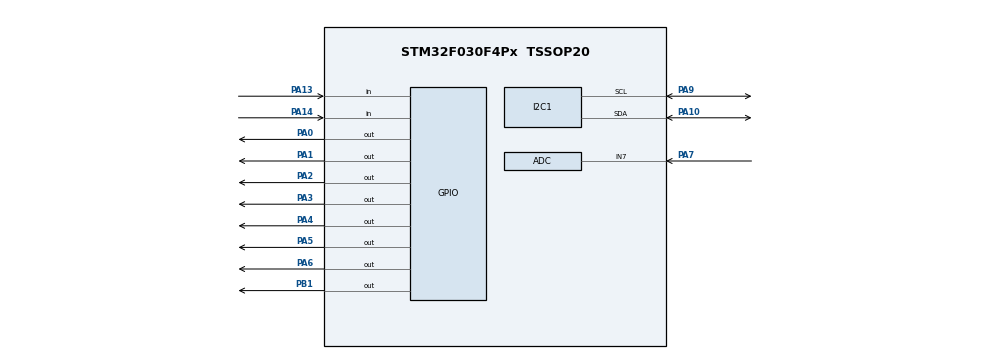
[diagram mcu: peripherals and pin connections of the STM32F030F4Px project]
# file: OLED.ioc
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Mcu.Family=STM32F0
Mcu.Name=STM32F030F4Px
Mcu.Package=TSSOP20
NVIC.I2C1_IRQn=true\:0\:0\:false\:false\:true\:true\:true
PA0.Signal=GPIO_Output
PA1.Signal=GPIO_Output
PA10.Mode=I2C
PA10.Signal=I2C1_SDA
PA13.Signal=GPIO_Input
PA14.Signal=GPIO_Input
PA2.Signal=GPIO_Output
PA3.Signal=GPIO_Output
PA4.Signal=GPIO_Output
PA5.Signal=GPIO_Output
PA6.Signal=GPIO_Output
PA7.Mode=IN7
PA7.Signal=ADC_IN7
PA9.Mode=I2C
PA9.Signal=I2C1_SCL
PB1.Signal=GPIO_Output
PF0-OSC_IN.Mode=HSE-External-Oscillator
PF0-OSC_IN.Signal=RCC_OSC_IN
PF1-OSC_OUT.Mode=HSE-External-Oscillator
PF1-OSC_OUT.Signal=RCC_OSC_OUT
ProjectManager.HeapSize=0x200
ProjectManager.StackSize=0x400
ProjectManager.TargetToolchain=MDK-ARM V5.27
board=custom

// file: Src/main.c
/* USER CODE BEGIN Header */
/**
  ******************************************************************************
  * @file           : main.c
  * @brief          : Main program body
  ******************************************************************************
  * @attention
  *
  * <h2><center>&copy; Copyright (c) 2021 STMicroelectronics.
  * All rights reserved.</center></h2>
  *
  * This software component is licensed by ST under BSD 3-Clause license,
  * the "License"; You may not use this file except in compliance with the
  * License. You may obtain a copy of the License at:
  *                        opensource.org/licenses/BSD-3-Clause
  *
  ******************************************************************************
  */
/* USER CODE END Header */

#include "main.h"

/* USER CODE BEGIN Includes */
#include "stm32_ds3231.h"
#include "stm32_ds3231.c"
/* USER CODE END Includes */

/* USER CODE BEGIN PTD */
#define numlines 2
#define LCD_CLEARDISPLAY 0x01
#define LCD_RETURNHOME 0x02
#define LCD_ENTRYMODESET 0x04
#define LCD_DISPLAYCONTROL 0x08
#define LCD_CURSORSHIFT 0x10
#define LCD_FUNCTIONSET 0x20
#define LCD_SETCGRAMADDR 0x40
#define LCD_SETDDRAMADDR 0x80
/* USER CODE END PTD */

ADC_HandleTypeDef hadc;

I2C_HandleTypeDef hi2c1;

/* USER CODE BEGIN PV */
I2C_HandleTypeDef hi2c1;
uint8_t menuFlag = 0;
uint8_t buttonFlags = 0;
uint16_t tempData = 0;
/* USER CODE END PV */

void SystemClock_Config(void);
static void MX_GPIO_Init(void);
static void MX_I2C1_Init(void);
static void MX_ADC_Init(void);
/* USER CODE BEGIN PFP */
static void callButton(void);
/* USER CODE END PFP */

/* USER CODE BEGIN 0 */
_RTC rtc = {
    .Year = 0, .Month = 3, .Date = 1,
    .DaysOfWeek = SUNDAY,
    .Hour = 2, .Min = 8, .Sec = 0
};

uint8_t regVal;
float rtcTemp;

void lcdSend(uint8_t isCommand, uint8_t data) {
	//HAL_Delay(25);
    HAL_GPIO_WritePin(GPIOA, GPIO_PIN_5, isCommand ? 0 : 1); //RS
    HAL_Delay(1);

    HAL_GPIO_WritePin(GPIOA, GPIO_PIN_0, (data >> 7) & 1); //D7
    HAL_GPIO_WritePin(GPIOA, GPIO_PIN_1, (data >> 6) & 1); //D6
    HAL_GPIO_WritePin(GPIOA, GPIO_PIN_2, (data >> 5) & 1); //D5
    HAL_GPIO_WritePin(GPIOA, GPIO_PIN_3, (data >> 4) & 1); //D4

        HAL_GPIO_WritePin(GPIOA, GPIO_PIN_6, 1); //E
        HAL_Delay(1);
        HAL_GPIO_WritePin(GPIOA, GPIO_PIN_6, 0);

      HAL_GPIO_WritePin(GPIOA, GPIO_PIN_0, (data >> 3) & 1);
      HAL_GPIO_WritePin(GPIOA, GPIO_PIN_1, (data >> 2) & 1);
      HAL_GPIO_WritePin(GPIOA, GPIO_PIN_2, (data >> 1) & 1);
      HAL_GPIO_WritePin(GPIOA, GPIO_PIN_3, (data >> 0) & 1);

      HAL_GPIO_WritePin(GPIOA, GPIO_PIN_6, 1);
      HAL_Delay(1);
      HAL_GPIO_WritePin(GPIOA, GPIO_PIN_6, 0);

}

void lcdCommand(uint8_t cmd) {
    lcdSend(1, cmd);
}

void lcdChar(const char chr) {
    lcdSend(0, (uint8_t)chr);
}

void lcdString(const char* str) {
    while(*str != '\0') {
        lcdChar(*str);
        str++;
    }
}
void lcdInt(int value) {
	char buf[17];
	sprintf(buf, "%d", value);
	lcdString(buf);
}

void lcdSetCursor(uint8_t x, uint8_t y) {
	/*
	if (0 <= x && x <= 100) {
		lcdCommand(0x80 | x);
	}
	if (0 <= y && y <= 1) {
		lcdCommand(0x80 | y);
	}
	*/

  int row_offsets[] = { 0x00, 0x40, 0x14, 0x54 };
  if ( y >= numlines ) {
    y = numlines-1;    // we count rows starting w/0
  }

  lcdCommand(LCD_SETDDRAMADDR | (x + row_offsets[y]));

}
void checkDate() {
	if(rtc.Month == 1 || rtc.Month == 3 || rtc.Month == 5 || rtc.Month == 7 || rtc.Month == 8 ||  rtc.Month == 10 || rtc.Month == 12) {
		if(tempData <= 31) rtc.Date = tempData;
		else tempData = 1;
}
	else if (rtc.Month == 4 || rtc.Month == 6 || rtc.Month == 9 || rtc.Month == 11) {
		if(tempData <= 30) rtc.Date = tempData;
		else tempData = 1;
	}
	else if (rtc.Month == 2) {
		if(rtc.Year % 4 == 0) {
			if(tempData <= 29) rtc.Date = tempData;
		else tempData = 1;
		}
		else if(rtc.Year % 4 != 0) {
			if(tempData <= 28) rtc.Date = tempData;
		else tempData = 1;
		}
	}
}
void setTime() {
	while(1) {
	if(menuFlag == 0) return;
		callButton();
		switch(menuFlag) {
			case 1:
			lcdSetCursor(0,0);
			lcdString("Set year: ");
			lcdInt(tempData);
			rtc.Year = tempData - 2000;
			break;
			case 2:
			lcdSetCursor(0,0);
			lcdString("Set month: ");
						if(tempData <= 12) rtc.Month = tempData;
			else tempData = 1;
			if(tempData < 10) {
			lcdChar('0');
lcdInt(tempData);
		}
		else 	lcdInt(tempData);
			break;
			case 3:
					lcdSetCursor(0,0);
			lcdString("Set date: ");
			checkDate();
						if(tempData < 10) {
			lcdChar('0');
lcdInt(tempData);
		}
		else 	lcdInt(tempData);
			break;
			case 4:
					lcdSetCursor(0,0);
			lcdString("Set hour: ");
			if(tempData <= 23) rtc.Hour = tempData;
			else tempData = 1;
			if(tempData < 10) {
			lcdChar('0');
lcdInt(tempData);
		}
		else 	lcdInt(tempData);
			break;
			case 5:
					lcdSetCursor(0,0);
			lcdString("Set minute: ");
			if(tempData <= 59) rtc.Min = tempData;
			else tempData = 1;
			if(tempData < 10) {
			lcdChar('0');
lcdInt(tempData);
		}
		else 	lcdInt(tempData);
			break;
			case 6:
			lcdSetCursor(0,0);
			lcdString("Set second: ");
			if(tempData <= 59) rtc.Sec = tempData;
			else tempData = 1;
			if(tempData < 10) {
			lcdChar('0');
lcdInt(tempData);
		}
		else 	lcdInt(tempData);
			break;
			default:
			DS3231_SetTime(&rtc);
			menuFlag = 0;
			break;
	}
}
	}
void check1() {
tempData++;
}

void check2() {
lcdCommand(0x01);
if(menuFlag == 0) {
	menuFlag++;
	HAL_Delay(10);
					tempData = 2000;
	setTime();
}
	else {
		tempData = 1;
		menuFlag++;
		HAL_Delay(10);
	}
}
void callButton() {
  if(HAL_GPIO_ReadPin(GPIOA,GPIO_PIN_13) == GPIO_PIN_SET && ((buttonFlags >> 0) & 1) == 1) {
   buttonFlags &= ~(1 << 0);
  }
   if(HAL_GPIO_ReadPin(GPIOA,GPIO_PIN_13) == GPIO_PIN_RESET && ((buttonFlags >> 0) & 1) == 0) {
   buttonFlags |= (1 << 0);
     check1();
  }
    if(HAL_GPIO_ReadPin(GPIOA,GPIO_PIN_14) == GPIO_PIN_SET && ((buttonFlags >> 1) & 1) == 1) {
    buttonFlags &= ~(1 << 1);
  }
   if(HAL_GPIO_ReadPin(GPIOA,GPIO_PIN_14) == GPIO_PIN_RESET && ((buttonFlags >> 1) & 1) == 0) {
  buttonFlags |= (1 << 1);
     check2();
  }
}

/* USER CODE END 0 */

int main(void)
{

  /* MCU Configuration--------------------------------------------------------*/

  /* Reset of all peripherals, Initializes the Flash interface and the Systick. */
  HAL_Init();

  /* USER CODE BEGIN Init */
buttonFlags = (1 | (1 << 1));
  /* USER CODE END Init */

  /* Configure the system clock */
  SystemClock_Config();

  /* Initialize all configured peripherals */
  MX_GPIO_Init();
  MX_I2C1_Init();
  MX_ADC_Init();
  /* USER CODE BEGIN 2 */
	  DS3231_Init(&hi2c1);
 // DS3231_SetTime(&rtc);
	HAL_Delay(500);
	/*
	for(int i = 0; i < 5; i++) {
lcdCommand(0x00);
HAL_Delay(10);
	}
	lcdCommand(0x30); //4-bit mode, 2 lines
	lcdCommand(0x02); //display init
	lcdCommand(0x08);
  lcdCommand(0x17);
  lcdCommand(0x04 | 0x08);
  lcdCommand(0x0C); //display on
  lcdCommand(0x01); //clear
  lcdCommand(0x80); //set cursor
	*/
	lcdCommand(0x33);
	lcdCommand(0x32);
	lcdCommand(0x28);
	lcdCommand(0x01);
	lcdCommand(0x08 | 0x04);
	lcdCommand(0x04 | 0x02);

	//WS0010
	lcdCommand(0x08);
	lcdCommand(0x17);
	lcdCommand(0x01);
	lcdCommand(0x04 | 0x08);
	lcdCommand(0x01); //clear
  lcdCommand(0x80); //set cursor
	//lcdString("+79080665015");
  /* USER CODE END 2 */

  /* Infinite loop */
  /* USER CODE BEGIN WHILE */
  while (1)
  {
		    DS3231_GetTime(&rtc);
    DS3231_ReadTemperature(&rtcTemp);
		lcdSetCursor(0,0);
		uint8_t hour = rtc.Hour;
		uint8_t second = rtc.Sec;
		uint8_t minute = rtc.Min;
		if(hour < 10) {
			lcdChar('0');
lcdInt(hour);
		}
		else lcdInt(hour);
		lcdChar(':');
		if(minute < 10) {
			lcdChar('0');
lcdInt(minute);
		}
		else lcdInt(minute);
		lcdChar(':');
		if(second < 10) {
			lcdChar('0');
lcdInt(second);
		}
		else lcdInt(second);
		lcdSetCursor(0,1);
	//	lcdString("88888");
		HAL_Delay(250);

		uint8_t month = rtc.Month;
		uint8_t day = rtc.Date;
		uint8_t year = rtc.Year;
		lcdString("20");
		if(year < 10) {
			lcdChar('0');
lcdInt(year);
		}
    else lcdInt(year);
		lcdChar('/');
		if(month < 10) {
			lcdChar('0');
lcdInt(month);
		}
		else lcdInt(month);
		lcdChar('/');
		if(day < 10) {
			lcdChar('0');
lcdInt(day);
		}
		else lcdInt(day);

    ReadRegister(DS3231_REG_STATUS, &regVal);
    if(regVal & DS3231_STA_A1F)
    {
      regVal &= ~DS3231_STA_A1F;
      WriteRegister(DS3231_REG_STATUS, regVal);
    }
		callButton();
    /* USER CODE END WHILE */

  }
}

void SystemClock_Config(void)
{
  RCC_OscInitTypeDef RCC_OscInitStruct = {0};
  RCC_ClkInitTypeDef RCC_ClkInitStruct = {0};
  RCC_PeriphCLKInitTypeDef PeriphClkInit = {0};

  /** Initializes the CPU, AHB and APB busses clocks
  */
  RCC_OscInitStruct.OscillatorType = RCC_OSCILLATORTYPE_HSI|RCC_OSCILLATORTYPE_HSI14;
  RCC_OscInitStruct.HSIState = RCC_HSI_ON;
  RCC_OscInitStruct.HSI14State = RCC_HSI14_ON;
  RCC_OscInitStruct.HSICalibrationValue = RCC_HSICALIBRATION_DEFAULT;
  RCC_OscInitStruct.HSI14CalibrationValue = 16;
  RCC_OscInitStruct.PLL.PLLState = RCC_PLL_NONE;
  if (HAL_RCC_OscConfig(&RCC_OscInitStruct) != HAL_OK)
  {
    Error_Handler();
  }
  /** Initializes the CPU, AHB and APB busses clocks
  */
  RCC_ClkInitStruct.ClockType = RCC_CLOCKTYPE_HCLK|RCC_CLOCKTYPE_SYSCLK
                              |RCC_CLOCKTYPE_PCLK1;
  RCC_ClkInitStruct.SYSCLKSource = RCC_SYSCLKSOURCE_HSI;
  RCC_ClkInitStruct.AHBCLKDivider = RCC_SYSCLK_DIV1;
  RCC_ClkInitStruct.APB1CLKDivider = RCC_HCLK_DIV1;

  if (HAL_RCC_ClockConfig(&RCC_ClkInitStruct, FLASH_LATENCY_0) != HAL_OK)
  {
    Error_Handler();
  }
  PeriphClkInit.PeriphClockSelection = RCC_PERIPHCLK_I2C1;
  PeriphClkInit.I2c1ClockSelection = RCC_I2C1CLKSOURCE_HSI;
  if (HAL_RCCEx_PeriphCLKConfig(&PeriphClkInit) != HAL_OK)
  {
    Error_Handler();
  }
}

static void MX_ADC_Init(void)
{

  ADC_ChannelConfTypeDef sConfig = {0};

  /** Configure the global features of the ADC (Clock, Resolution, Data Alignment and number of conversion)
  */
  hadc.Instance = ADC1;
  hadc.Init.ClockPrescaler = ADC_CLOCK_ASYNC_DIV1;
  hadc.Init.Resolution = ADC_RESOLUTION_12B;
  hadc.Init.DataAlign = ADC_DATAALIGN_RIGHT;
  hadc.Init.ScanConvMode = ADC_SCAN_DIRECTION_FORWARD;
  hadc.Init.EOCSelection = ADC_EOC_SINGLE_CONV;
  hadc.Init.LowPowerAutoWait = DISABLE;
  hadc.Init.LowPowerAutoPowerOff = DISABLE;
  hadc.Init.ContinuousConvMode = DISABLE;
  hadc.Init.DiscontinuousConvMode = DISABLE;
  hadc.Init.ExternalTrigConv = ADC_SOFTWARE_START;
  hadc.Init.ExternalTrigConvEdge = ADC_EXTERNALTRIGCONVEDGE_NONE;
  hadc.Init.DMAContinuousRequests = DISABLE;
  hadc.Init.Overrun = ADC_OVR_DATA_PRESERVED;
  if (HAL_ADC_Init(&hadc) != HAL_OK)
  {
    Error_Handler();
  }
  /** Configure for the selected ADC regular channel to be converted.
  */
  sConfig.Channel = ADC_CHANNEL_7;
  sConfig.Rank = ADC_RANK_CHANNEL_NUMBER;
  sConfig.SamplingTime = ADC_SAMPLETIME_1CYCLE_5;
  if (HAL_ADC_ConfigChannel(&hadc, &sConfig) != HAL_OK)
  {
    Error_Handler();
  }

}

static void MX_I2C1_Init(void)
{

  hi2c1.Instance = I2C1;
  hi2c1.Init.Timing = 0x2000090E;
  hi2c1.Init.OwnAddress1 = 0;
  hi2c1.Init.AddressingMode = I2C_ADDRESSINGMODE_7BIT;
  hi2c1.Init.DualAddressMode = I2C_DUALADDRESS_DISABLE;
  hi2c1.Init.OwnAddress2 = 0;
  hi2c1.Init.OwnAddress2Masks = I2C_OA2_NOMASK;
  hi2c1.Init.GeneralCallMode = I2C_GENERALCALL_DISABLE;
  hi2c1.Init.NoStretchMode = I2C_NOSTRETCH_DISABLE;
  if (HAL_I2C_Init(&hi2c1) != HAL_OK)
  {
    Error_Handler();
  }
  /** Configure Analogue filter
  */
  if (HAL_I2CEx_ConfigAnalogFilter(&hi2c1, I2C_ANALOGFILTER_ENABLE) != HAL_OK)
  {
    Error_Handler();
  }
  /** Configure Digital filter
  */
  if (HAL_I2CEx_ConfigDigitalFilter(&hi2c1, 0) != HAL_OK)
  {
    Error_Handler();
  }

}

static void MX_GPIO_Init(void)
{
  GPIO_InitTypeDef GPIO_InitStruct = {0};

  /* GPIO Ports Clock Enable */
  __HAL_RCC_GPIOF_CLK_ENABLE();
  __HAL_RCC_GPIOA_CLK_ENABLE();
  __HAL_RCC_GPIOB_CLK_ENABLE();

  /*Configure GPIO pin Output Level */
  HAL_GPIO_WritePin(GPIOA, GPIO_PIN_0|GPIO_PIN_1|GPIO_PIN_2|GPIO_PIN_3
                          |GPIO_PIN_4|GPIO_PIN_5|GPIO_PIN_6, GPIO_PIN_RESET);

  /*Configure GPIO pin Output Level */
  HAL_GPIO_WritePin(GPIOB, GPIO_PIN_1, GPIO_PIN_RESET);

  /*Configure GPIO pins : PA0 PA1 PA2 PA3
                           PA4 PA5 PA6 */
  GPIO_InitStruct.Pin = GPIO_PIN_0|GPIO_PIN_1|GPIO_PIN_2|GPIO_PIN_3
                          |GPIO_PIN_4|GPIO_PIN_5|GPIO_PIN_6;
  GPIO_InitStruct.Mode = GPIO_MODE_OUTPUT_PP;
  GPIO_InitStruct.Pull = GPIO_NOPULL;
  GPIO_InitStruct.Speed = GPIO_SPEED_FREQ_LOW;
  HAL_GPIO_Init(GPIOA, &GPIO_InitStruct);

  /*Configure GPIO pin : PB1 */
  GPIO_InitStruct.Pin = GPIO_PIN_1;
  GPIO_InitStruct.Mode = GPIO_MODE_OUTPUT_PP;
  GPIO_InitStruct.Pull = GPIO_NOPULL;
  GPIO_InitStruct.Speed = GPIO_SPEED_FREQ_LOW;
  HAL_GPIO_Init(GPIOB, &GPIO_InitStruct);

  /*Configure GPIO pins : PA13 PA14 */
  GPIO_InitStruct.Pin = GPIO_PIN_13|GPIO_PIN_14;
  GPIO_InitStruct.Mode = GPIO_MODE_INPUT;
  GPIO_InitStruct.Pull = GPIO_NOPULL;
  HAL_GPIO_Init(GPIOA, &GPIO_InitStruct);

}

void Error_Handler(void)
{
}

/************************ (C) COPYRIGHT STMicroelectronics *****END OF FILE****/
